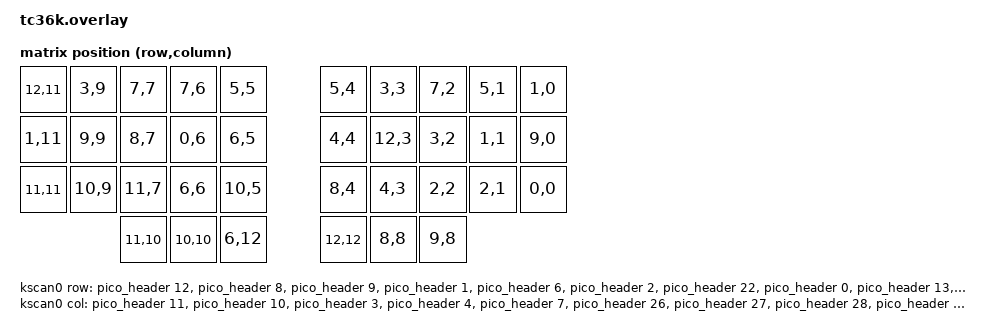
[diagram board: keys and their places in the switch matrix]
/*
 * Copyright (c) 2020 The ZMK Contributors
 *
 * SPDX-License-Identifier: MIT
 */

#include <dt-bindings/zmk/matrix_transform.h>
#include <physical_layouts.dtsi>
#include "tc36k-layouts.dtsi"

/ {
    kscan0: kscan0 {
        compatible = "zmk,kscan-gpio-matrix";
        diode-direction = "col2row";
        wakeup-source;

        col-gpios
            = <&pico_header 11 GPIO_ACTIVE_HIGH>
            , <&pico_header 10 GPIO_ACTIVE_HIGH>
            , <&pico_header 3 GPIO_ACTIVE_HIGH>
            , <&pico_header 4 GPIO_ACTIVE_HIGH>
            , <&pico_header 7 GPIO_ACTIVE_HIGH>
            , <&pico_header 26 GPIO_ACTIVE_HIGH>
            , <&pico_header 27 GPIO_ACTIVE_HIGH>
            , <&pico_header 28 GPIO_ACTIVE_HIGH>
            , <&pico_header 15 GPIO_ACTIVE_HIGH>
            , <&pico_header 21 GPIO_ACTIVE_HIGH>
            , <&pico_header 19 GPIO_ACTIVE_HIGH>
            , <&pico_header 20 GPIO_ACTIVE_HIGH>
            , <&pico_header 16 GPIO_ACTIVE_HIGH>
            ;

        row-gpios
            = <&pico_header 12 (GPIO_ACTIVE_HIGH | GPIO_PULL_DOWN)>
            , <&pico_header 8 (GPIO_ACTIVE_HIGH | GPIO_PULL_DOWN)>
            , <&pico_header 9 (GPIO_ACTIVE_HIGH | GPIO_PULL_DOWN)>
            , <&pico_header 1 (GPIO_ACTIVE_HIGH | GPIO_PULL_DOWN)>
            , <&pico_header 6 (GPIO_ACTIVE_HIGH | GPIO_PULL_DOWN)>
            , <&pico_header 2 (GPIO_ACTIVE_HIGH | GPIO_PULL_DOWN)>
            , <&pico_header 22 (GPIO_ACTIVE_HIGH | GPIO_PULL_DOWN)>
            , <&pico_header 0 (GPIO_ACTIVE_HIGH | GPIO_PULL_DOWN)>
            , <&pico_header 13 (GPIO_ACTIVE_HIGH | GPIO_PULL_DOWN)>
            , <&pico_header 14 (GPIO_ACTIVE_HIGH | GPIO_PULL_DOWN)>
            , <&pico_header 18 (GPIO_ACTIVE_HIGH | GPIO_PULL_DOWN)>
            , <&pico_header 17 (GPIO_ACTIVE_HIGH | GPIO_PULL_DOWN)>
            , <&pico_header 5 (GPIO_ACTIVE_HIGH | GPIO_PULL_DOWN)>
            ;
    };
};

/ {
    default_transform: keymap_transform0 {
        compatible = "zmk,matrix-transform";
        columns = <13>;
        rows = <13>;
        map = <
            RC(12,11) RC(3,9)  RC(7,7)   RC(7,6)   RC(5,5)  RC(5,4)   RC(3,3)  RC(7,2) RC(5,1) RC(1,0)
            RC(1,11)  RC(9,9)  RC(8,7)   RC(0,6)   RC(6,5)  RC(4,4)   RC(12,3) RC(3,2) RC(1,1) RC(9,0)
            RC(11,11) RC(10,9) RC(11,7)  RC(6,6)   RC(10,5) RC(8,4)   RC(4,3)  RC(2,2) RC(2,1) RC(0,0)
                               RC(11,10) RC(10,10) RC(6,12) RC(12,12) RC(8,8)  RC(9,8)
        >;
    };
};

/ {
    physical_layout0: physical_layout_0 { // First physical layout, use different naming for other layouts
        compatible = "zmk,physical-layout";
        display-name = "Default Layout";
        kscan = <&kscan0>; // Label of the kscan node, optional if all layouts use the same
        transform = <&default_transform>; // Label of the matrix transform for this layout
    };
};

/ {
    chosen {
        zmk,physical-layout = &physical_layout0;
        // Other chosen items
    };
};

